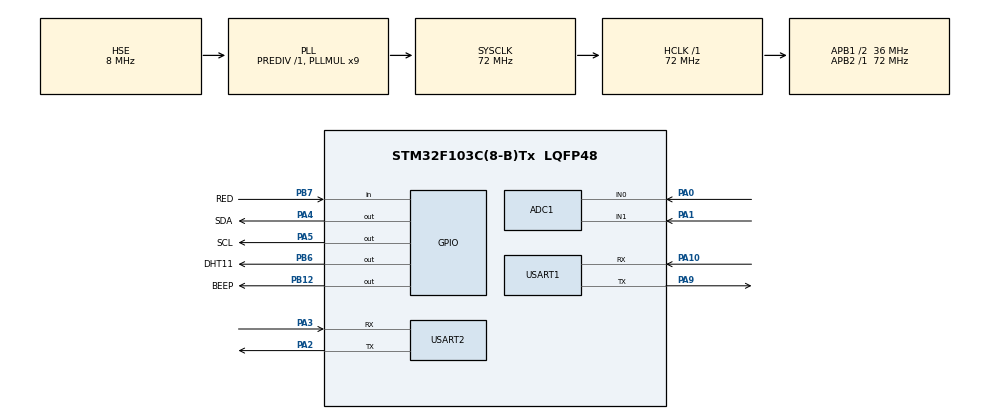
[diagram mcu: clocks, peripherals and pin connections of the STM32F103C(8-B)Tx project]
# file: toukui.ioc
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ADC1.Channel-0\#ChannelRegularConversion=ADC_CHANNEL_0
ADC1.Channel-1\#ChannelRegularConversion=ADC_CHANNEL_1
ADC1.ContinuousConvMode=DISABLE
ADC1.NbrOfConversion=2
ADC1.NbrOfConversionFlag=1
ADC1.Rank-0\#ChannelRegularConversion=1
ADC1.Rank-1\#ChannelRegularConversion=2
ADC1.SamplingTime-0\#ChannelRegularConversion=ADC_SAMPLETIME_1CYCLE_5
ADC1.SamplingTime-1\#ChannelRegularConversion=ADC_SAMPLETIME_1CYCLE_5
ADC1.master=1
Dma.ADC1.0.Direction=DMA_PERIPH_TO_MEMORY
Dma.ADC1.0.Instance=DMA1_Channel1
Dma.ADC1.0.MemDataAlignment=DMA_MDATAALIGN_HALFWORD
Dma.ADC1.0.MemInc=DMA_MINC_ENABLE
Dma.ADC1.0.Mode=DMA_CIRCULAR
Dma.ADC1.0.PeriphDataAlignment=DMA_PDATAALIGN_HALFWORD
Dma.ADC1.0.PeriphInc=DMA_PINC_DISABLE
Dma.ADC1.0.Priority=DMA_PRIORITY_LOW
Dma.Request0=ADC1
Mcu.Family=STM32F1
Mcu.Name=STM32F103C(8-B)Tx
Mcu.Package=LQFP48
NVIC.DMA1_Channel1_IRQn=true\:0\:0\:false\:false\:true\:false\:true\:true
NVIC.PriorityGroup=NVIC_PRIORITYGROUP_4
NVIC.USART1_IRQn=true\:1\:0\:true\:false\:true\:true\:true\:true
NVIC.USART2_IRQn=true\:2\:0\:true\:false\:true\:true\:true\:true
PA0-WKUP.Signal=ADCx_IN0
PA1.Signal=ADCx_IN1
PA10.Mode=Asynchronous
PA10.Signal=USART1_RX
PA13.Mode=Serial_Wire
PA13.Signal=SYS_JTMS-SWDIO
PA14.Mode=Serial_Wire
PA14.Signal=SYS_JTCK-SWCLK
PA2.Mode=Asynchronous
PA2.Signal=USART2_TX
PA3.Mode=Asynchronous
PA3.Signal=USART2_RX
PA4.GPIO_Label=SDA
PA4.Signal=GPIO_Output
PA5.GPIO_Label=SCL
PA5.Signal=GPIO_Output
PA9.Mode=Asynchronous
PA9.Signal=USART1_TX
PB12.GPIO_Label=BEEP
PB12.Signal=GPIO_Output
PB6.GPIO_Label=DHT11
PB6.Signal=GPIO_Output
PB7.GPIO_Label=RED
PB7.Signal=GPIO_Input
PC14-OSC32_IN.Mode=LSE-External-Oscillator
PC14-OSC32_IN.Signal=RCC_OSC32_IN
PC15-OSC32_OUT.Mode=LSE-External-Oscillator
PC15-OSC32_OUT.Signal=RCC_OSC32_OUT
PD0-OSC_IN.Mode=HSE-External-Oscillator
PD0-OSC_IN.Signal=RCC_OSC_IN
PD1-OSC_OUT.Mode=HSE-External-Oscillator
PD1-OSC_OUT.Signal=RCC_OSC_OUT
ProjectManager.HeapSize=0x200
ProjectManager.StackSize=0x400
ProjectManager.TargetToolchain=MDK-ARM V5.32
RCC.ADCPresc=RCC_ADCPCLK2_DIV6
RCC.AHBFreq_Value=72000000
RCC.APB1CLKDivider=RCC_HCLK_DIV2
RCC.APB1Freq_Value=36000000
RCC.APB1TimFreq_Value=72000000
RCC.APB2Freq_Value=72000000
RCC.APB2TimFreq_Value=72000000
RCC.HCLKFreq_Value=72000000
RCC.PLLMUL=RCC_PLL_MUL9
RCC.PLLSourceVirtual=RCC_PLLSOURCE_HSE
RCC.SYSCLKFreq_VALUE=72000000
RCC.SYSCLKSource=RCC_SYSCLKSOURCE_PLLCLK
RCC.USBFreq_Value=72000000
SH.ADCx_IN0.0=ADC1_IN0,IN0
SH.ADCx_IN1.0=ADC1_IN1,IN1
USART1.VirtualMode=VM_ASYNC
USART2.VirtualMode=VM_ASYNC
board=custom

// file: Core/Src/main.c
/* USER CODE BEGIN Header */
/**
  ******************************************************************************
  * @file           : main.c
  * @brief          : Main program body
  ******************************************************************************
  * @attention
  *
  * Copyright (c) 2024 STMicroelectronics.
  * All rights reserved.
  *
  * This software is licensed under terms that can be found in the LICENSE file
  * in the root directory of this software component.
  * If no LICENSE file comes with this software, it is provided AS-IS.
  *
  ******************************************************************************
  */
/* USER CODE END Header */
#include "main.h"
#include "adc.h"
#include "dma.h"
#include "usart.h"
#include "gpio.h"

/* USER CODE BEGIN Includes */
#include "stdio.h"
#include "dht11.h"
#include "u8g2.h"
#include "my_u8g2_config.h"
/* USER CODE END Includes */

/* USER CODE BEGIN PTD */
uint8_t temp,humi,tempp,humii;
/* USER CODE END PTD */

/* USER CODE BEGIN PV */
uint16_t ADCBuf[3]={0};
uint32_t mq135;
uint32_t mq2;
uint8_t people;
/* USER CODE END PV */

void SystemClock_Config(void);

int main(void)
{

  /* MCU Configuration--------------------------------------------------------*/

  /* Reset of all peripherals, Initializes the Flash interface and the Systick. */
  HAL_Init();

  /* Configure the system clock */
  SystemClock_Config();

  /* Initialize all configured peripherals */
  MX_GPIO_Init();
  MX_DMA_Init();
  MX_ADC1_Init();
  MX_USART1_UART_Init();
  MX_USART2_UART_Init();
  /* USER CODE BEGIN 2 */
	DHT11_Init();
	u8g2_t u8g2;
	u8g2Init(&u8g2);
	HAL_UART_Transmit(&huart1,"11111",5,1000);
	HAL_ADCEx_Calibration_Start(&hadc1);
  /* USER CODE END 2 */

  /* Infinite loop */
  /* USER CODE BEGIN WHILE */
  while (1)
  {
		DHT11_Read_Data(&temp,&humi,&tempp,&humii);
		HAL_ADC_Start_DMA(&hadc1,(uint32_t *)ADCBuf,2);
		mq2 = ADCBuf[0];
		mq135 = ADCBuf[1];
		people = HAL_GPIO_ReadPin(RED_GPIO_Port,RED_Pin);
		u8g2_FirstPage(&u8g2);
    do
    {
      u8g2_test_1(&u8g2);
    } while (u8g2_NextPage(&u8g2));
		HAL_Delay(1000);
    /* USER CODE END WHILE */

  }
}

void SystemClock_Config(void)
{
  RCC_OscInitTypeDef RCC_OscInitStruct = {0};
  RCC_ClkInitTypeDef RCC_ClkInitStruct = {0};
  RCC_PeriphCLKInitTypeDef PeriphClkInit = {0};

  /** Initializes the RCC Oscillators according to the specified parameters
  * in the RCC_OscInitTypeDef structure.
  */
  RCC_OscInitStruct.OscillatorType = RCC_OSCILLATORTYPE_HSE;
  RCC_OscInitStruct.HSEState = RCC_HSE_ON;
  RCC_OscInitStruct.HSEPredivValue = RCC_HSE_PREDIV_DIV1;
  RCC_OscInitStruct.HSIState = RCC_HSI_ON;
  RCC_OscInitStruct.PLL.PLLState = RCC_PLL_ON;
  RCC_OscInitStruct.PLL.PLLSource = RCC_PLLSOURCE_HSE;
  RCC_OscInitStruct.PLL.PLLMUL = RCC_PLL_MUL9;
  if (HAL_RCC_OscConfig(&RCC_OscInitStruct) != HAL_OK)
  {
    Error_Handler();
  }

  /** Initializes the CPU, AHB and APB buses clocks
  */
  RCC_ClkInitStruct.ClockType = RCC_CLOCKTYPE_HCLK|RCC_CLOCKTYPE_SYSCLK
                              |RCC_CLOCKTYPE_PCLK1|RCC_CLOCKTYPE_PCLK2;
  RCC_ClkInitStruct.SYSCLKSource = RCC_SYSCLKSOURCE_PLLCLK;
  RCC_ClkInitStruct.AHBCLKDivider = RCC_SYSCLK_DIV1;
  RCC_ClkInitStruct.APB1CLKDivider = RCC_HCLK_DIV2;
  RCC_ClkInitStruct.APB2CLKDivider = RCC_HCLK_DIV1;

  if (HAL_RCC_ClockConfig(&RCC_ClkInitStruct, FLASH_LATENCY_2) != HAL_OK)
  {
    Error_Handler();
  }
  PeriphClkInit.PeriphClockSelection = RCC_PERIPHCLK_ADC;
  PeriphClkInit.AdcClockSelection = RCC_ADCPCLK2_DIV6;
  if (HAL_RCCEx_PeriphCLKConfig(&PeriphClkInit) != HAL_OK)
  {
    Error_Handler();
  }
}

/* USER CODE BEGIN 4 */
int fputc(int ch, FILE *f)
{
  HAL_UART_Transmit(&huart1, (uint8_t *)&ch, 1, 0xffff);
  return ch;
}
/* USER CODE END 4 */

void Error_Handler(void)
{
  __disable_irq();
  while (1)
  {
  }
}
